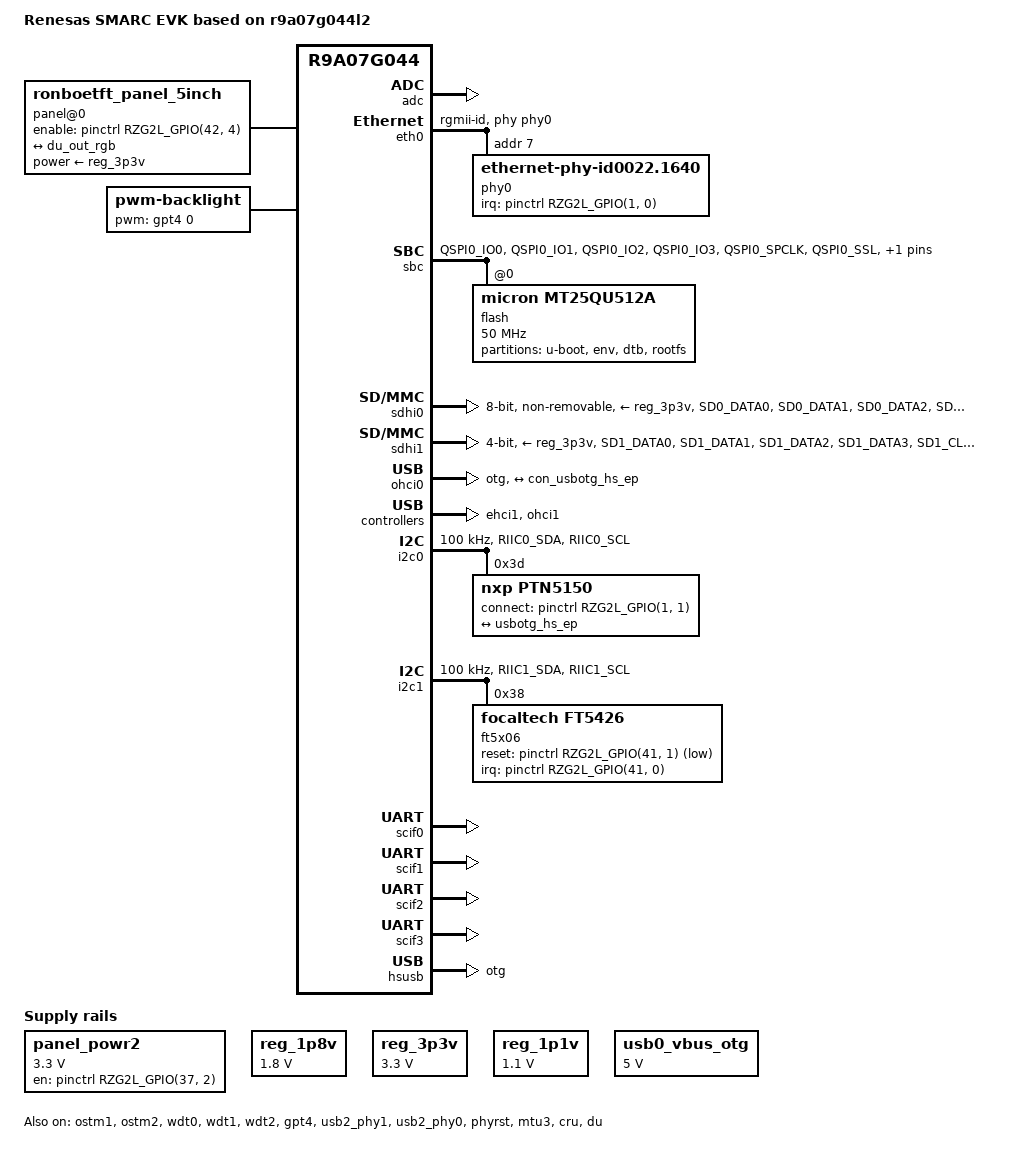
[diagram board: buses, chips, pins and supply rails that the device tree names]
// SPDX-License-Identifier: (GPL-2.0-only OR BSD-2-Clause)
/*
 * Device Tree Source for the RZ/{G2L,V2L} SMARC SOM common parts
 *
 * Copyright (C) 2022 MYiR Electronics Corp.
 */
#include "r9a07g044l2.dtsi"

#include <dt-bindings/gpio/gpio.h>
#include <dt-bindings/pinctrl/rzg2l-pinctrl.h>
#include <dt-bindings/input/input.h>

/ {
	model = "Renesas SMARC EVK based on r9a07g044l2";
	compatible = "renesas,smarc-evk", "renesas,r9a07g044l2", "renesas,r9a07g044";

	aliases {
		ethernet0 = &eth0;

		serial0 = &scif0;
		serial3 = &scif3;

		i2c0 = &i2c0;
		i2c1 = &i2c1;

		mmc0 = &sdhi0;
		mmc1 = &sdhi1;
	};

        chosen {
//                bootargs = "ignore_loglevel";
                stdout-path = "serial0:115200n8";
        };

	vring-ctl0@43000000 {
                compatible = "vring_uio";
                reg = <0x0 0x43000000 0x0 0x100000>;
                no-map;
        };

        vring-ctl1@43100000 {
                compatible = "vring_uio";
                reg = <0x0 0x43100000 0x0 0x100000>;
                no-map;
        };
	vring-shm0@43200000 {
                compatible = "shm_uio";
                reg = <0x0 0x43200000 0x0 0x300000>;
                no-map;
        };

        vring-shm1@43500000 {
                compatible = "shm_uio";
                reg = <0x0 0x43500000 0x0 0x300000>;
                no-map;
        };

	rsctbl@42f00000 {
                compatible = "shm_uio";
                reg = <0x0 0x42f00000 0x0 0x1000>;
                no-map;
        };

        mhu-shm@42f01000 {
                compatible = "shm_uio";
                reg = <0x0 0x42f01000 0x0 0x1000>;
                no-map;
        };

        mbox-uio@10400000 {
                compatible = "mbox_uio";
                reg = <0x0 0x10400000 0x0 0x1000>;
                interrupt-parent = <&gic>;
                interrupts = <GIC_SPI 75 IRQ_TYPE_LEVEL_HIGH>;
                status = "okay";
        };

        	panel_powr2: regulator-panel_powr2 {
		compatible = "regulator-fixed";
		regulator-name = "panel-power2";
		regulator-min-microvolt = <3300000>;
		regulator-max-microvolt = <3300000>;
		gpios = <&pinctrl RZG2L_GPIO(37, 2) GPIO_ACTIVE_HIGH>;
		enable-active-high;
		regulator-boot-on;
		regulator-always-on;
	};
	
	panel@0 {
		compatible = "ronboetft_panel_5inch";
		// backlight = <&lcd_backlight>;
		power-supply = <&reg_3p3v>;
		enable-gpios = <&pinctrl RZG2L_GPIO(42, 4) GPIO_ACTIVE_HIGH>;// backlight
		status = "okay";
		no-hpd;

		port {
			panel_lcd_in: endpoint {
				remote-endpoint = <&du_out_rgb>;
			};
		};
	};

	reg_1p8v: regulator0 {
		compatible = "regulator-fixed";
		regulator-name = "fixed-1.8V";
		regulator-min-microvolt = <1800000>;
		regulator-max-microvolt = <1800000>;
		regulator-boot-on;
		regulator-always-on;
	};

	reg_3p3v: regulator1 {
		compatible = "regulator-fixed";
		regulator-name = "fixed-3.3V";
		regulator-min-microvolt = <3300000>;
		regulator-max-microvolt = <3300000>;
		regulator-boot-on;
		regulator-always-on;
	};

	reg_1p1v: regulator-vdd-core {
		compatible = "regulator-fixed";
		regulator-name = "fixed-1.1V";
		regulator-min-microvolt = <1100000>;
		regulator-max-microvolt = <1100000>;
		regulator-boot-on;
		regulator-always-on;
	};

	usb0_vbus_otg: regulator-usb0-vbus-otg {
			compatible = "regulator-fixed";

			regulator-name = "USB0_VBUS_OTG";
			regulator-min-microvolt = <5000000>;
			regulator-max-microvolt = <5000000>;
	};

	x1_clk: x1-clock {
			compatible = "fixed-clock";
			#clock-cells = <0>;
			clock-frequency = <24000000>;
	};

        backlight {
                compatible = "pwm-backlight";
                pwms = <&gpt4 0 50000>;
                brightness-levels = <0 2 8 16 32 64 128 255>;
                default-brightness-level = <7>;
        };
};

&adc {
	pinctrl-0 = <&adc_pins>;
	pinctrl-names = "default";
	status = "okay";
};

&eth0 {
	pinctrl-0 = <&eth0_pins>;
	pinctrl-names = "default";
	phy-handle = <&phy0>;
	phy-mode = "rgmii-id";
	status = "okay";

	phy0: ethernet-phy@7 {
		compatible = "ethernet-phy-id0022.1640",
			     "ethernet-phy-ieee802.3-c22";
		reg = <7>;
		rxc-skew-psec = <2400>;
		txc-skew-psec = <2400>;
		rxdv-skew-psec = <0>;
		txen-skew-psec = <0>;
		rxd0-skew-psec = <0>;
		rxd1-skew-psec = <0>;
		rxd2-skew-psec = <0>;
		rxd3-skew-psec = <0>;
		txd0-skew-psec = <0>;
		txd1-skew-psec = <0>;
		txd2-skew-psec = <0>;
		txd3-skew-psec = <0>;

		interrupt-parent = <&pinctrl>;
		interrupts = <RZG2L_GPIO(1, 0) IRQ_TYPE_LEVEL_LOW>;
	};
};

&extal_clk {
	clock-frequency = <24000000>;
};

&gpu {
	mali-supply = <&reg_1p1v>;
};

&ostm1 {
	status = "okay";
};

&ostm2 {
	status = "okay";
};

&pinctrl {

	eth0_pins: eth0 {

		mux {
			pinmux = <RZG2L_PORT_PINMUX(28, 1, 1)>, /* ET0_LINKSTA */
				 <RZG2L_PORT_PINMUX(27, 1, 1)>, /* ET0_MDC */
				 <RZG2L_PORT_PINMUX(28, 0, 1)>, /* ET0_MDIO */
                                 <RZG2L_PORT_PINMUX(20, 0, 1)>, /* ET0_TXC */
				 <RZG2L_PORT_PINMUX(20, 1, 1)>, /* ET0_TX_CTL */
				 <RZG2L_PORT_PINMUX(20, 2, 1)>, /* ET0_TXD0 */
				 <RZG2L_PORT_PINMUX(21, 0, 1)>, /* ET0_TXD1 */
				 <RZG2L_PORT_PINMUX(21, 1, 1)>, /* ET0_TXD2 */
				 <RZG2L_PORT_PINMUX(22, 0, 1)>, /* ET0_TXD3 */
				 <RZG2L_PORT_PINMUX(24, 0, 1)>, /* ET0_RXC */
				 <RZG2L_PORT_PINMUX(24, 1, 1)>, /* ET0_RX_CTL */
				 <RZG2L_PORT_PINMUX(25, 0, 1)>, /* ET0_RXD0 */
				 <RZG2L_PORT_PINMUX(25, 1, 1)>, /* ET0_RXD1 */
				 <RZG2L_PORT_PINMUX(26, 0, 1)>, /* ET0_RXD2 */
				 <RZG2L_PORT_PINMUX(26, 1, 1)>; /* ET0_RXD3 */
			power-source = <3300>;
		};
	};

	i2c0_pins: i2c0 {
			pins = "RIIC0_SDA", "RIIC0_SCL";
			input-enable;
	};

	i2c1_pins: i2c1 {
			pins = "RIIC1_SDA", "RIIC1_SCL";
			input-enable;
	};

	adc_pins: adc {
			pinmux = <RZG2L_PORT_PINMUX(48, 4, 3)>; /* ADC_TRG */
	};

	qspi0_pins: qspi0 {
		qspi0-data {
			pins = "QSPI0_IO0", "QSPI0_IO1", "QSPI0_IO2", "QSPI0_IO3";
			power-source = <1800>;
		};

		qspi0-ctrl {
			pins = "QSPI0_SPCLK", "QSPI0_SSL", "QSPI_RESET#";
			power-source = <1800>;
		};
	};

	sdhi0_emmc_pins: sd0emmc {
		sd0_emmc_data {
			pins = "SD0_DATA0", "SD0_DATA1", "SD0_DATA2", "SD0_DATA3",
                   "SD0_DATA4", "SD0_DATA5", "SD0_DATA6", "SD0_DATA7";
			power-source = <3300>;
		};

		sd0_emmc_ctrl {
			pins = "SD0_CLK", "SD0_CMD";
			power-source = <3300>;
		};

		sd0_emmc_rst {
			pins = "SD0_RST#";
			power-source = <3300>;
		};
	};

	sdhi1_pins: sd1 {
		sd1_data {
			pins = "SD1_DATA0", "SD1_DATA1", "SD1_DATA2", "SD1_DATA3";
			power-source  = <3300>;
		};

		sd1_ctrl {
			pins = "SD1_CLK", "SD1_CMD";
			power-source  = <3300>;
		};

		sd1_mux {
			groups = "sdhi1_cd_b";
			function = "sdhi1";
		};
	};

	sdhi1_pins_uhs: sd1_uhs {
		sd1_data_uhs {
			pins = "SD1_DATA0", "SD1_DATA1", "SD1_DATA2", "SD1_DATA3";
			power-source  = <1800>;
		};

		sd1_ctrl_uhs {
			pins = "SD1_CLK", "SD1_CMD";
			power-source  = <1800>;
		};

		sd1_mux_uhs {
			groups = "sdhi1_cd_b";
			function = "sdhi1";
		};
	};

	ssi0_pins: ssi0 {
			pinmux = <RZG2L_PORT_PINMUX(45, 0, 1)>, /* BCK */
						<RZG2L_PORT_PINMUX(45, 1, 1)>, /* RCK */
						<RZG2L_PORT_PINMUX(45, 2, 1)>, /* TXD */
						<RZG2L_PORT_PINMUX(45, 3, 1)>; /* RXD */
	};

	usb0_pins: usb0 {
			pinmux = <RZG2L_PORT_PINMUX(5, 0, 1)>,   /* OVC */
                      <RZG2L_PORT_PINMUX(5, 1, 1)>; /* OTG_ID */


	};

	usb1_pins: usb1 {
			pinmux = <RZG2L_PORT_PINMUX(42, 0, 1)>, /* VBUS */
						<RZG2L_PORT_PINMUX(42, 1, 1)>; /* OVC */
	};

	scif0_pins: scif0 {
			pinmux = <RZG2L_PORT_PINMUX(38, 0, 1)>, /* TxD */
						<RZG2L_PORT_PINMUX(38, 1, 1)>; /* RxD */
	};

	scif3_pins: scif3 {
			pinmux = <RZG2L_PORT_PINMUX(0, 0, 5)>, /* TxD */
						<RZG2L_PORT_PINMUX(0, 1, 5)>;/* RxD */
	};

        gpt4_pins: gpt4 {
                pinmux = <RZG2L_PORT_PINMUX(43, 0, 2)>; /* Channel A */
        };

         du_pins: du {
                groups = "disp_bgr888", "disp_sync", "disp_de", "disp_clk";
                function = "disp";
                data {
                        pinmux = <RZG2L_PORT_PINMUX(7, 2, 1)>,
                                 <RZG2L_PORT_PINMUX(8, 0, 1)>,
                                 <RZG2L_PORT_PINMUX(8, 1, 1)>,
                                 <RZG2L_PORT_PINMUX(8, 2, 1)>,
                                 <RZG2L_PORT_PINMUX(9, 0, 1)>,
                                 <RZG2L_PORT_PINMUX(9, 1, 1)>,
                                 <RZG2L_PORT_PINMUX(10, 0, 1)>,
                                 <RZG2L_PORT_PINMUX(10, 1, 1)>,
                                 <RZG2L_PORT_PINMUX(11, 0, 1)>,
                                 <RZG2L_PORT_PINMUX(11, 1, 1)>,
                                 <RZG2L_PORT_PINMUX(12, 0, 1)>,
                                 <RZG2L_PORT_PINMUX(12, 1, 1)>,
                                 <RZG2L_PORT_PINMUX(13, 0, 1)>,
                                 <RZG2L_PORT_PINMUX(13, 1, 1)>,
                                 <RZG2L_PORT_PINMUX(13, 2, 1)>,
                                 <RZG2L_PORT_PINMUX(14, 0, 1)>,
                                 <RZG2L_PORT_PINMUX(14, 1, 1)>,
                                 <RZG2L_PORT_PINMUX(15, 0, 1)>,
                                 <RZG2L_PORT_PINMUX(15, 1, 1)>,
                                 <RZG2L_PORT_PINMUX(16, 0, 1)>,
                                 <RZG2L_PORT_PINMUX(16, 1, 1)>,
                                 <RZG2L_PORT_PINMUX(17, 0, 1)>,
                                 <RZG2L_PORT_PINMUX(17, 1, 1)>,
                                 <RZG2L_PORT_PINMUX(17, 2, 1)>;
                        drive-strength = <2>;
                };

                sync {
                        pinmux = <RZG2L_PORT_PINMUX(6, 1, 1)>, /* HSYNC */
                                 <RZG2L_PORT_PINMUX(7, 0, 1)>; /* VSYNC */
                        drive-strength = <2>;
                };

                de {
                        pinmux = <RZG2L_PORT_PINMUX(7, 1, 1)>; /* DE */
                        drive-strength = <2>;
                };

                clk {
                        pinmux = <RZG2L_PORT_PINMUX(6, 0, 1)>; /* CLK */
                };
        };       
};

&sbc {
	pinctrl-0 = <&qspi0_pins>;
	pinctrl-names = "default";
	status = "okay";

	flash@0 {
		compatible = "micron,mt25qu512a", "jedec,spi-nor";
		reg = <0>;
		m25p,fast-read;
		spi-max-frequency = <50000000>;
		spi-rx-bus-width = <4>;
		spi-tx-bus-width = <4>;

		partitions {
			compatible = "fixed-partitions";
			#address-cells = <1>;
			#size-cells = <1>;

			partition@0000000 {
				label = "u-boot";
				reg = <0x00000000 0x80000>;
				read-only;
			};
			partition@80000 {
				label = "env";
				reg = <0x00080000 0x40000>;
				read-only;
			};
			partition@C0000 {
				label = "dtb";
				reg = <0x000C0000 0x40000>;
				read-only;
			};
			partition@800000 {
				label = "rootfs";
				/* 16MB @ 8MB offset in SPI Flash */
				reg = <0x00800000 0x01000000>;
			};
		};
	};
};

/*EMMC*/
&sdhi0 {
	pinctrl-0 = <&sdhi0_emmc_pins>;
	pinctrl-1 = <&sdhi0_emmc_pins>;
	pinctrl-names = "default", "state_uhs";

	vmmc-supply = <&reg_3p3v>;
	vqmmc-supply = <&reg_1p8v>;
	bus-width = <8>;
	mmc-hs200-1_8v;
	non-removable;
	fixed-emmc-driver-type = <1>;
	status = "okay";
};

/*sdcard*/
&sdhi1 {
	pinctrl-0 = <&sdhi1_pins>;
	pinctrl-1 = <&sdhi1_pins_uhs>;
	pinctrl-names = "default", "state_uhs";
	vmmc-supply = <&reg_3p3v>;
        vqmmc-supply = <&reg_3p3v>;
	cd-gpios = <&pinctrl RZG2L_GPIO(19, 0) GPIO_ACTIVE_LOW>;
	bus-width = <4>;
	disable-wp;
	status = "okay";
};

&wdt0 {
	status = "okay";
	timeout-sec = <60>;
};

&wdt1 {
	status = "okay";
	timeout-sec = <60>;
};

&wdt2 {
	status = "okay";
	timeout-sec = <60>;
};

&poegd {
	status = "disabled";
};

&gpt4 {
        pinctrl-0 = <&gpt4_pins>;
	pinctrl-names = "default";
	channel = "channel_A";
	status = "okay";
};

&usb2_phy1 {
        pinctrl-0 = <&usb1_pins>;
        pinctrl-names = "default";

        status = "okay";
};

&usb2_phy0 {
        pinctrl-0 = <&usb0_pins>;
        pinctrl-names = "default";

        vbus-supply = <&usb0_vbus_otg>;
        status = "okay";
};

&ehci0 {
	memory-region = <&global_cma>;
};

&ohci0 {
	memory-region = <&global_cma>;
	dr_mode = "otg";
	status = "okay";

	port {
		usbotg_hs_ep: endpoint {
				remote-endpoint = <&con_usbotg_hs_ep>;
		};
	};
};

&ehci1 {
	memory-region = <&global_cma>;
	status = "okay";
};

&ohci1 {
	memory-region = <&global_cma>;
	status = "okay";
};


&i2c0 {
	pinctrl-0 = <&i2c0_pins>;
	pinctrl-names = "default";

	clock-frequency = <100000>;
	status = "okay";

	ptn5150: ptn5150@3d {
		compatible = "nxp,ptn5150";
		reg = <0x3d>;
		pinctrl-names = "default";
		connect-gpios = <&pinctrl RZG2L_GPIO(1, 1) GPIO_ACTIVE_HIGH>;
		status = "okay";

		connector {
				compatible = "usb-c-connector";
				label = "USB-C";
				port {
						con_usbotg_hs_ep: endpoint {
										remote-endpoint = <&usbotg_hs_ep>;
						};
				};
		};
	};
};

&i2c1 {
	pinctrl-0 = <&i2c1_pins>;
	pinctrl-names = "default";
	clock-frequency = <100000>;
	status = "okay";

    ft5x06: ft5x06@38 {
        compatible = "focaltech,ft5426";
            reg = <0x38>;
            interrupt-parent = <&pinctrl>;
            interrupts = <RZG2L_GPIO(41, 0) IRQ_TYPE_EDGE_FALLING>;
            reset-gpios = <&pinctrl RZG2L_GPIO(41, 1) GPIO_ACTIVE_LOW>;
            touchscreen-size-x=<800>;
            touchscreen-size-y=<480>;
    };	
};

/* console */
&scif0 {
	pinctrl-0 = <&scif0_pins>;
	pinctrl-names = "default";
	status = "okay";
};

/* RS485 */
&scif1 {
	pinctrl-0 = <&scif1_pins>;
	pinctrl-names = "default";
	status = "okay";
};

&scif2 {
        pinctrl-0 = <&scif2_pins>;
        pinctrl-names = "default";
        status = "okay";
};

/* RS232 */
&scif3 {
        pinctrl-0 = <&scif3_pins>;
        pinctrl-names = "default";
        status = "okay";
};

&hsusb {
        dr_mode = "otg";
        status = "okay";
};
&phyrst {
        status = "okay";
};

&mtu3 {
        status = "okay";
};

&cru {
	status = "okay";
};

/* MIPI DSI */
&dsi0 {
	status = "disabled";
};

&du {
	pinctrl-0 = <&du_pins>;
	pinctrl-names = "default";
	status = "okay";

	ports {
		port@0 {
			du_out_rgb: endpoint {
				remote-endpoint = <&panel_lcd_in>;
			};
		};
	};
};
